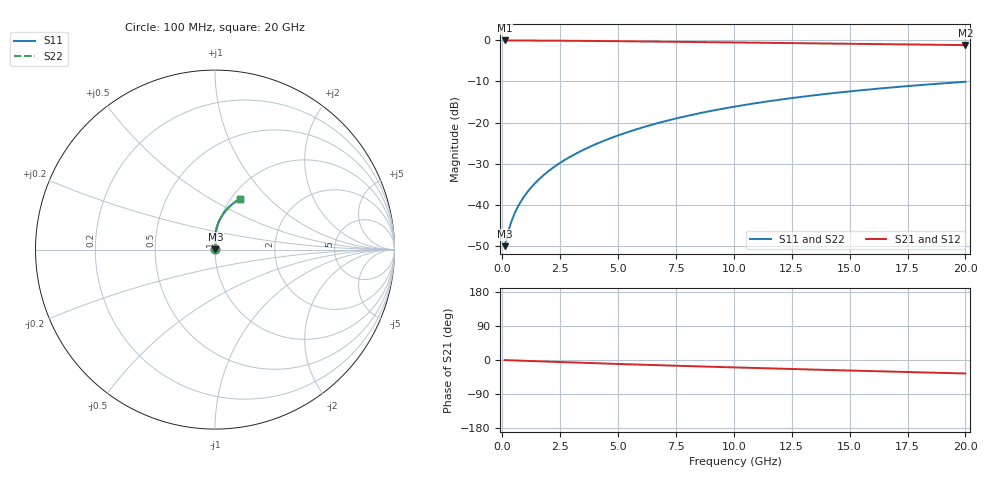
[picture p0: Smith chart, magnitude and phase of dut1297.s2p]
! Touchstone file exported from HFSS 2024.1.0
!  File:  C:/UserFiles/LocalFiles/RDL_TSV_Batchsim/temp_RDL_bottom_1297_1780247338.aedt
!  Generated:  01:11:41 AM Jun  1, 2026
!  Design:  RDL_bottom
!  Project:  temp_RDL_bottom_1297_1780247338
!  Setup:  Setup1
!  Solution:  Sweep
! Variables:
!  dtsv = 10.80580581um
!  hbump = 3um
!  htsv = 92.69um
!  ldown = 480.58um
!  lrdl = 100um
!  p = 40
!  p1 = 57.4um
!  rhole = 1um
!  t = 450um
!  tdown = 2.42um
!  trdl = 3.915915916um
!  wdown = 29.19um
!  wrdl = 20um
# GHz S MA R 50.000000
! Terminal data exported
! Port[1] = RDL1_T1
! Port[2] = RDL1_T2
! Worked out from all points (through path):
!   200 points, 100 MHz to 20 GHz, reference 50 ohm
!   highest |S21| = -0.02 dB at 100 MHz (marker M1); lowest = -1.2 dB at 20 GHz (marker M2)
!   group delay of S21, straight-line fit = 4.88 ps
!   lowest |S11| = -50.1 dB at 100 MHz (marker M3), VSWR 1.01, Z = 50.3 + j0.146 ohm
!   |S11| at or under -10 dB: start of sweep to end of sweep
!   |S22| runs from -50.1 to -10.1 dB; largest |S21 - S12| = 3e-15
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0.1  0.003128 27.6  0.9972 -0.2  0.9972 -0.2  0.003128 27.6
! Gamma 0 0 0 0
! Port Impedance 50 0 50 0
0.3  0.005159 54.3  0.9969 -0.7  0.9969 -0.7  0.005159 54.3
0.4  0.006306 60.3  0.9967 -0.9  0.9967 -0.9  0.006306 60.3
0.5  0.007455 64.4  0.9965 -1.1  0.9965 -1.1  0.007456 64.4
0.6  0.008603 67.5  0.9963 -1.3  0.9963 -1.3  0.008604 67.5
0.8  0.01091 72.1  0.9958 -1.8  0.9958 -1.8  0.01091 72.1
1  0.01325 75.5  0.9954 -2.2  0.9954 -2.2  0.01326 75.4
1.2  0.01564 78.0  0.995 -2.6  0.995 -2.6  0.01565 78.0
1.7  0.02182 82.3  0.9936 -3.7  0.9936 -3.7  0.02182 82.3
2.2  0.02829 84.9  0.9919 -4.8  0.9919 -4.8  0.02829 84.9
2.8  0.03644 86.9  0.9894 -6.0  0.9894 -6.0  0.03643 86.9
3.5  0.04647 88.3  0.9859 -7.5  0.9859 -7.5  0.04646 88.2
4.2  0.05703 88.9  0.982 -8.9  0.982 -8.9  0.05701 88.8
5  0.06968 89.0  0.9772 -10.5  0.9772 -10.5  0.06964 88.9
5.9  0.08451 88.5  0.9713 -12.2  0.9713 -12.2  0.08446 88.4
6.8  0.09981 87.5  0.9653 -13.9  0.9653 -13.9  0.09974 87.5
8.4  0.1276 85.2  0.9543 -16.8  0.9543 -16.8  0.1275 85.1
10.1  0.1574 82.2  0.9426 -19.7  0.9426 -19.7  0.1572 82.1
11.7  0.1849 79.2  0.9316 -22.4  0.9316 -22.4  0.1847 79.2
13.4  0.2134 76.0  0.9201 -25.2  0.9201 -25.2  0.2132 75.9
16.7  0.2656 69.9  0.8977 -30.5  0.8977 -30.5  0.2653 69.8
20  0.3131 64.1  0.8756 -35.6  0.8756 -35.6  0.3126 64.0
